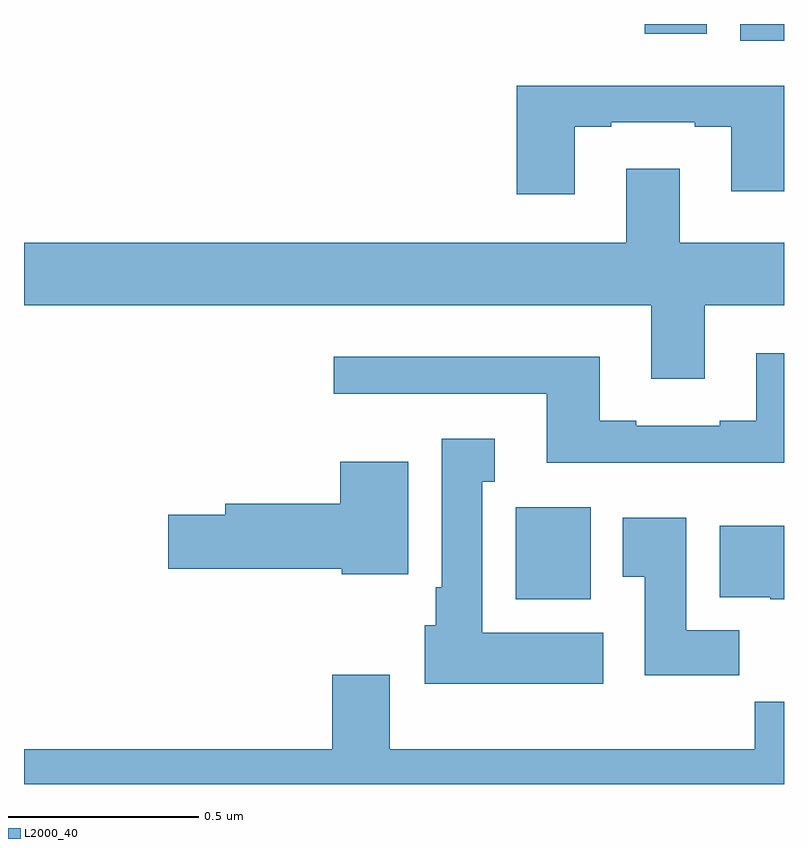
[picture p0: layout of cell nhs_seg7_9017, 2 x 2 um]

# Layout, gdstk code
import gdstk
lib = gdstk.Library(unit=1e-6, precision=1e-09)
def R(c, l, rs):  # rectangles x0, y0, x1, y1
    for r in rs: c.add(gdstk.rectangle(r[:2], r[2:], *l))
def P(c, l, *ps):  # polygons
    for p in ps: c.add(gdstk.Polygon(p, *l))
L2000_40 = (2000, 40)

nhs_seg7_9017 = lib.new_cell('nhs_seg7_9017')
R(nhs_seg7_9017, L2000_40, [(233.294,1022.486,233.491,1022.728), (233.885,1023.956,234,1024), (233.633,1023.974,233.797,1024)])
P(nhs_seg7_9017, L2000_40, [(233.449,1023.729),(233.545,1023.729),(233.545,1023.741),(233.765,1023.741),(233.765,1023.729),(233.861,1023.729),(233.861,1023.56),(234,1023.56),(234,1023.838),(233.297,1023.838),(233.297,1023.552),(233.449,1023.552)],
  [(233.791,1023.26),(234,1023.26),(234,1023.424),(233.725,1023.424),(233.725,1023.619),(233.585,1023.619),(233.585,1023.424),(232,1023.424),(232,1023.26),(233.651,1023.26),(233.651,1023.066),(233.791,1023.066)],
  [(234,1023.133),(233.927,1023.133),(233.927,1022.956),(233.831,1022.956),(233.831,1022.943),(233.611,1022.943),(233.611,1022.956),(233.515,1022.956),(233.515,1023.124),(232.815,1023.124),(232.815,1023.027),(233.375,1023.027),(233.375,1022.846),(234,1022.846)],
  [(233.524,1022.398),(233.206,1022.398),(233.206,1022.795),(233.239,1022.795),(233.239,1022.908),(233.099,1022.908),(233.099,1022.518),(233.084,1022.518),(233.084,1022.418),(233.054,1022.418),(233.054,1022.264),(233.524,1022.264)],
  [(233.011,1022.848),(232.832,1022.848),(232.832,1022.738),(232.529,1022.738),(232.529,1022.708),(232.38,1022.708),(232.38,1022.566),(232.836,1022.566),(232.836,1022.552),(233.011,1022.552)],
  [(233.882,1022.404),(233.743,1022.404),(233.743,1022.701),(233.576,1022.701),(233.576,1022.545),(233.633,1022.545),(233.633,1022.286),(233.882,1022.286)],
  [(234,1022.68),(233.831,1022.68),(233.831,1022.492),(233.964,1022.492),(233.964,1022.486),(234,1022.486)],
  [(234,1022.216),(233.923,1022.216),(233.923,1022.092),(232.963,1022.092),(232.963,1022.287),(232.811,1022.287),(232.811,1022.092),(232,1022.092),(232,1022),(234,1022)])

lib.write_gds('nhs_seg7_9017.gds')
